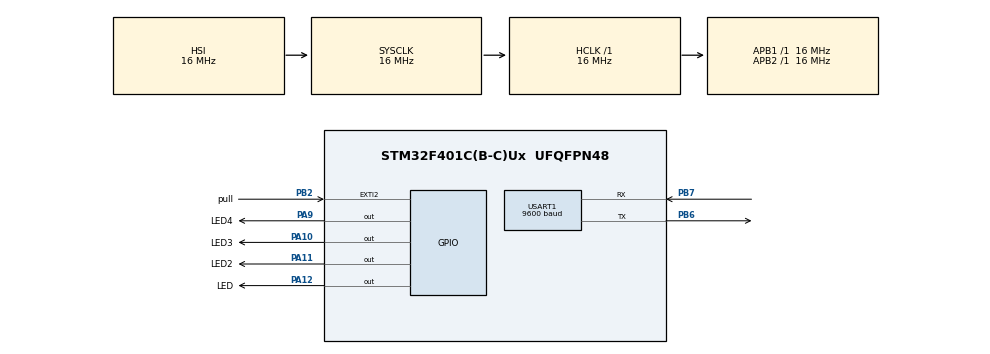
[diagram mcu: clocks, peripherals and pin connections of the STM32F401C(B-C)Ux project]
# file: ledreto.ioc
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Dma.Request0=USART1_RX
Dma.USART1_RX.0.Direction=DMA_PERIPH_TO_MEMORY
Dma.USART1_RX.0.FIFOMode=DMA_FIFOMODE_DISABLE
Dma.USART1_RX.0.Instance=DMA2_Stream2
Dma.USART1_RX.0.MemDataAlignment=DMA_MDATAALIGN_BYTE
Dma.USART1_RX.0.MemInc=DMA_MINC_ENABLE
Dma.USART1_RX.0.Mode=DMA_NORMAL
Dma.USART1_RX.0.PeriphDataAlignment=DMA_PDATAALIGN_BYTE
Dma.USART1_RX.0.PeriphInc=DMA_PINC_DISABLE
Dma.USART1_RX.0.Priority=DMA_PRIORITY_LOW
Mcu.Family=STM32F4
Mcu.Name=STM32F401C(B-C)Ux
Mcu.Package=UFQFPN48
NVIC.DMA2_Stream2_IRQn=true\:0\:0\:false\:false\:true\:false\:true\:true
NVIC.EXTI2_IRQn=true\:0\:0\:true\:false\:true\:true\:true\:true
NVIC.PriorityGroup=NVIC_PRIORITYGROUP_2
NVIC.TIM2_IRQn=true\:1\:0\:true\:false\:true\:true\:true\:true
NVIC.USART1_IRQn=true\:0\:0\:false\:false\:true\:true\:true\:true
PA10.GPIO_Label=LED3
PA10.Signal=GPIO_Output
PA11.GPIO_Label=LED2
PA11.Signal=GPIO_Output
PA12.GPIO_Label=LED
PA12.Signal=GPIO_Output
PA9.GPIO_Label=LED4
PA9.Signal=GPIO_Output
PB2.GPIO_Label=pull
PB2.GPIO_ModeDefaultEXTI=GPIO_MODE_IT_FALLING
PB2.GPIO_PuPd=GPIO_PULLUP
PB2.Signal=GPXTI2
PB6.Mode=Asynchronous
PB6.Signal=USART1_TX
PB7.Mode=Asynchronous
PB7.Signal=USART1_RX
ProjectManager.HeapSize=0x200
ProjectManager.StackSize=0x400
ProjectManager.TargetToolchain=CMake
RCC.AHBFreq_Value=16000000
RCC.APB1Freq_Value=16000000
RCC.APB2Freq_Value=16000000
RCC.CortexFreq_Value=16000000
RCC.HSE_VALUE=25000000
RCC.HSI_VALUE=16000000
RCC.LSE_VALUE=32768
RCC.SYSCLKFreq_VALUE=16000000
RCC.VCOOutputFreq_Value=192000000
TIM2.AutoReloadPreload=TIM_AUTORELOAD_PRELOAD_ENABLE
TIM2.Period=99
TIM2.Prescaler=16000-1
USART1.BaudRate=9600
USART1.VirtualMode=VM_ASYNC
VP_TIM2_VS_ClockSourceINT.Mode=Internal
board=custom

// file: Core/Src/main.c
/* USER CODE BEGIN Header */
/**
  ******************************************************************************
  * @file           : main.c
  * @brief          : Main program body
  ******************************************************************************
  * @attention
  *
  * Copyright (c) 2026 STMicroelectronics.
  * All rights reserved.
  *
  * This software is licensed under terms that can be found in the LICENSE file
  * in the root directory of this software component.
  * If no LICENSE file comes with this software, it is provided AS-IS.
  *
  ******************************************************************************
  */
/* USER CODE END Header */
#include "main.h"

/* USER CODE BEGIN Includes */
#include "stdio.h"
#include "string.h"
#include "stdlib.h"
#include "stdbool.h"
#include "math.h"
#include "stdint.h"
#include "uart.h"
#include "UARTRX.h"
/* USER CODE END Includes */

TIM_HandleTypeDef htim2;

UART_HandleTypeDef huart1;
DMA_HandleTypeDef hdma_usart1_rx;

void SystemClock_Config(void);
static void MX_GPIO_Init(void);
static void MX_DMA_Init(void);
static void MX_TIM2_Init(void);
static void MX_USART1_UART_Init(void);

/* USER CODE BEGIN 0 */
void procesa_rx(void)
{
  //procedimiento donde se procesan los datos
   // uartx_write_text(&huart1, UARTRX1.trama_rx);
}
/* USER CODE END 0 */

int main(void)
{

  /* MCU Configuration--------------------------------------------------------*/

  /* Reset of all peripherals, Initializes the Flash interface and the Systick. */
  HAL_Init();

  /* Configure the system clock */
  SystemClock_Config();

  /* Initialize all configured peripherals */
  MX_GPIO_Init();
  MX_DMA_Init();
  MX_TIM2_Init();
  MX_USART1_UART_Init();
  /* USER CODE BEGIN 2 */
  HAL_TIM_Base_Start_IT(&htim2);
  uartRX_it_idle_dma_init( &UARTRX1);
  /* USER CODE END 2 */

  /* Infinite loop */
  while (1)
  {

    /* USER CODE BEGIN 3 */
    HAL_GPIO_TogglePin(LED_GPIO_Port, LED_Pin);
    HAL_Delay(100);
    if (UARTRX1.flag_rx==1)
	  {
	     uartx_write_text(&huart1, UARTRX1.trama_rx);
	      procesa_rx(); //procedimeinto donde se procesan los datos
		  uartRX_DMA_Re_init(&UARTRX1);
	  }
  }
  /* USER CODE END 3 */
}

void SystemClock_Config(void)
{
  RCC_OscInitTypeDef RCC_OscInitStruct = {0};
  RCC_ClkInitTypeDef RCC_ClkInitStruct = {0};

  /** Configure the main internal regulator output voltage
  */
  __HAL_RCC_PWR_CLK_ENABLE();
  __HAL_PWR_VOLTAGESCALING_CONFIG(PWR_REGULATOR_VOLTAGE_SCALE2);

  /** Initializes the RCC Oscillators according to the specified parameters
  * in the RCC_OscInitTypeDef structure.
  */
  RCC_OscInitStruct.OscillatorType = RCC_OSCILLATORTYPE_HSI;
  RCC_OscInitStruct.HSIState = RCC_HSI_ON;
  RCC_OscInitStruct.HSICalibrationValue = RCC_HSICALIBRATION_DEFAULT;
  RCC_OscInitStruct.PLL.PLLState = RCC_PLL_NONE;
  if (HAL_RCC_OscConfig(&RCC_OscInitStruct) != HAL_OK)
  {
    Error_Handler();
  }

  /** Initializes the CPU, AHB and APB buses clocks
  */
  RCC_ClkInitStruct.ClockType = RCC_CLOCKTYPE_HCLK|RCC_CLOCKTYPE_SYSCLK
                              |RCC_CLOCKTYPE_PCLK1|RCC_CLOCKTYPE_PCLK2;
  RCC_ClkInitStruct.SYSCLKSource = RCC_SYSCLKSOURCE_HSI;
  RCC_ClkInitStruct.AHBCLKDivider = RCC_SYSCLK_DIV1;
  RCC_ClkInitStruct.APB1CLKDivider = RCC_HCLK_DIV1;
  RCC_ClkInitStruct.APB2CLKDivider = RCC_HCLK_DIV1;

  if (HAL_RCC_ClockConfig(&RCC_ClkInitStruct, FLASH_LATENCY_0) != HAL_OK)
  {
    Error_Handler();
  }
}

static void MX_TIM2_Init(void)
{

  TIM_ClockConfigTypeDef sClockSourceConfig = {0};
  TIM_MasterConfigTypeDef sMasterConfig = {0};

  htim2.Instance = TIM2;
  htim2.Init.Prescaler = 16000-1;
  htim2.Init.CounterMode = TIM_COUNTERMODE_UP;
  htim2.Init.Period = 99;
  htim2.Init.ClockDivision = TIM_CLOCKDIVISION_DIV1;
  htim2.Init.AutoReloadPreload = TIM_AUTORELOAD_PRELOAD_ENABLE;
  if (HAL_TIM_Base_Init(&htim2) != HAL_OK)
  {
    Error_Handler();
  }
  sClockSourceConfig.ClockSource = TIM_CLOCKSOURCE_INTERNAL;
  if (HAL_TIM_ConfigClockSource(&htim2, &sClockSourceConfig) != HAL_OK)
  {
    Error_Handler();
  }
  sMasterConfig.MasterOutputTrigger = TIM_TRGO_RESET;
  sMasterConfig.MasterSlaveMode = TIM_MASTERSLAVEMODE_DISABLE;
  if (HAL_TIMEx_MasterConfigSynchronization(&htim2, &sMasterConfig) != HAL_OK)
  {
    Error_Handler();
  }

}

static void MX_USART1_UART_Init(void)
{

  huart1.Instance = USART1;
  huart1.Init.BaudRate = 9600;
  huart1.Init.WordLength = UART_WORDLENGTH_8B;
  huart1.Init.StopBits = UART_STOPBITS_1;
  huart1.Init.Parity = UART_PARITY_NONE;
  huart1.Init.Mode = UART_MODE_TX_RX;
  huart1.Init.HwFlowCtl = UART_HWCONTROL_NONE;
  huart1.Init.OverSampling = UART_OVERSAMPLING_16;
  if (HAL_UART_Init(&huart1) != HAL_OK)
  {
    Error_Handler();
  }

}

static void MX_DMA_Init(void)
{

  /* DMA controller clock enable */
  __HAL_RCC_DMA2_CLK_ENABLE();

  /* DMA interrupt init */
  /* DMA2_Stream2_IRQn interrupt configuration */
  HAL_NVIC_SetPriority(DMA2_Stream2_IRQn, 0, 0);
  HAL_NVIC_EnableIRQ(DMA2_Stream2_IRQn);

}

static void MX_GPIO_Init(void)
{
  GPIO_InitTypeDef GPIO_InitStruct = {0};

  /* GPIO Ports Clock Enable */
  __HAL_RCC_GPIOB_CLK_ENABLE();
  __HAL_RCC_GPIOA_CLK_ENABLE();

  /*Configure GPIO pin Output Level */
  HAL_GPIO_WritePin(GPIOA, LED4_Pin|LED3_Pin|LED2_Pin|LED_Pin, GPIO_PIN_RESET);

  /*Configure GPIO pin : pull_Pin */
  GPIO_InitStruct.Pin = pull_Pin;
  GPIO_InitStruct.Mode = GPIO_MODE_IT_FALLING;
  GPIO_InitStruct.Pull = GPIO_PULLUP;
  HAL_GPIO_Init(pull_GPIO_Port, &GPIO_InitStruct);

  /*Configure GPIO pins : LED4_Pin LED3_Pin LED2_Pin LED_Pin */
  GPIO_InitStruct.Pin = LED4_Pin|LED3_Pin|LED2_Pin|LED_Pin;
  GPIO_InitStruct.Mode = GPIO_MODE_OUTPUT_PP;
  GPIO_InitStruct.Pull = GPIO_NOPULL;
  GPIO_InitStruct.Speed = GPIO_SPEED_FREQ_LOW;
  HAL_GPIO_Init(GPIOA, &GPIO_InitStruct);

  /* EXTI interrupt init*/
  HAL_NVIC_SetPriority(EXTI2_IRQn, 0, 0);
  HAL_NVIC_EnableIRQ(EXTI2_IRQn);

}

void Error_Handler(void)
{
  __disable_irq();
  while (1)
  {
  }
}
